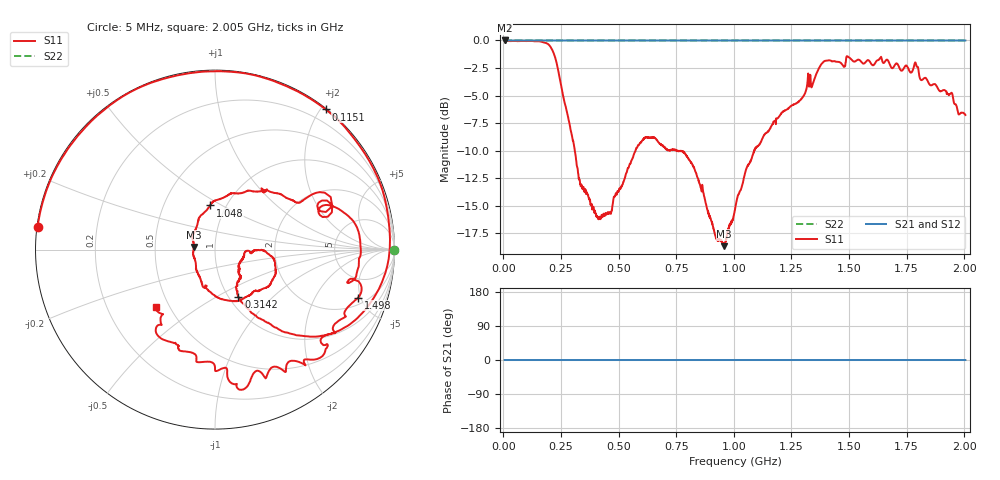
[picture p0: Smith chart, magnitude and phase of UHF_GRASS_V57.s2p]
!Keysight Technologies N9923A: A.08.09
!Date: Wednesday, 01 August 2018 07:24:04
!Timezone: (GMT+08:00) Kuala Lumpur, Singapore
!Model: N9923A
!Serial: MY52412143
!GPS Latitude:
!GPS Longitude:
!GPS TimeStamp: 0001-01-01 00:00:00Z
!GPS Seconds Since Last Read: 0
!CHECKSUM:0323680628
!Correction: S11(ON U)S21()S12()S22()
!S2P File: Measurements:S11,S21,S12,S22:
# Hz S DB R 50
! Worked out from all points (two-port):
!   2000 points, 5 MHz to 2.005 GHz, reference 50 ohm
!   highest |S21| = 0.00 dB at 5 MHz (marker M1); lowest = 0.0 dB at 5 MHz (marker M2)
!   |S21| within 3 dB of the highest: start of sweep to end of sweep
!   lowest |S11| = -18.7 dB at 958.5 MHz (marker M3), VSWR 1.26, Z = 39.6 + j1.17 ohm
!   |S11| at or under -10 dB: 309.4 MHz to 572.8 MHz (263.5 MHz wide, 59.7 % of centre); 749.6 MHz to 754.3 MHz (4.628 MHz wide, 0.615 % of centre); 755.7 MHz to 1.088 GHz (332.6 MHz wide, 36.1 % of centre)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
!   |S22| runs from 0.0 to 0.0 dB; largest |S21 - S12| = 0
!   S11 on the Smith chart (normalised r, x): 5 MHz: 0.00, +0.06; 115.1 MHz: 0.01, +2.06; 314.2 MHz: 1.11, -0.64; 1.048 GHz: 0.84, +0.44; 1.498 GHz: 2.59, -4.75; 2.005 GHz: 0.42, -0.34
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5000000  -0.03 172.9  0.00 0.0  0.00 0.0  0.00 0.0
2.701101e7  -0.06 142.9  0.00 0.0  0.00 0.0  0.00 0.0
5.702601e7  -0.06 105.8  0.00 0.0  0.00 0.0  0.00 0.0
1.15055e8  -0.04 51.7  0.00 0.0  0.00 0.0  0.00 0.0
1.780865e8  -0.19 5.5  0.00 0.0  0.00 0.0  0.00 0.0
2.271111e8  -1.74 -33.9  0.00 0.0  0.00 0.0  0.00 0.0
2.601276e8  -5.14 -51.8  0.00 0.0  0.00 0.0  0.00 0.0
3.141546e8  -10.58 -63.7  0.00 0.0  0.00 0.0  0.00 0.0
3.391671e8  -13.22 -52.0  0.00 0.0  0.00 0.0  0.00 0.0
4.222086e8  -16.04 -23.8  0.00 0.0  0.00 0.0  0.00 0.0
5.362656e8  -11.88 -0.6  0.00 0.0  0.00 0.0  0.00 0.0
6.723337e8  -9.23 -38.9  0.00 0.0  0.00 0.0  0.00 0.0
8.174062e8  -11.16 -83.2  0.00 0.0  0.00 0.0  0.00 0.0
9.584767e8  -18.67 172.8  0.00 0.0  0.00 0.0  0.00 0.0
1.0055e9  -15.25 124.3  0.00 0.0  0.00 0.0  0.00 0.0
1.047521e9  -12.13 96.4  0.00 0.0  0.00 0.0  0.00 0.0
1.338667e9  -4.20 20.9  0.00 0.0  0.00 0.0  0.00 0.0
1.397696e9  -1.84 5.3  0.00 0.0  0.00 0.0  0.00 0.0
1.497746e9  -1.50 -18.6  0.00 0.0  0.00 0.0  0.00 0.0
1.671833e9  -1.93 -52.5  0.00 0.0  0.00 0.0  0.00 0.0
1.791893e9  -2.25 -81.0  0.00 0.0  0.00 0.0  0.00 0.0
2.005e9  -6.76 -135.9  0.00 0.0  0.00 0.0  0.00 0.0
